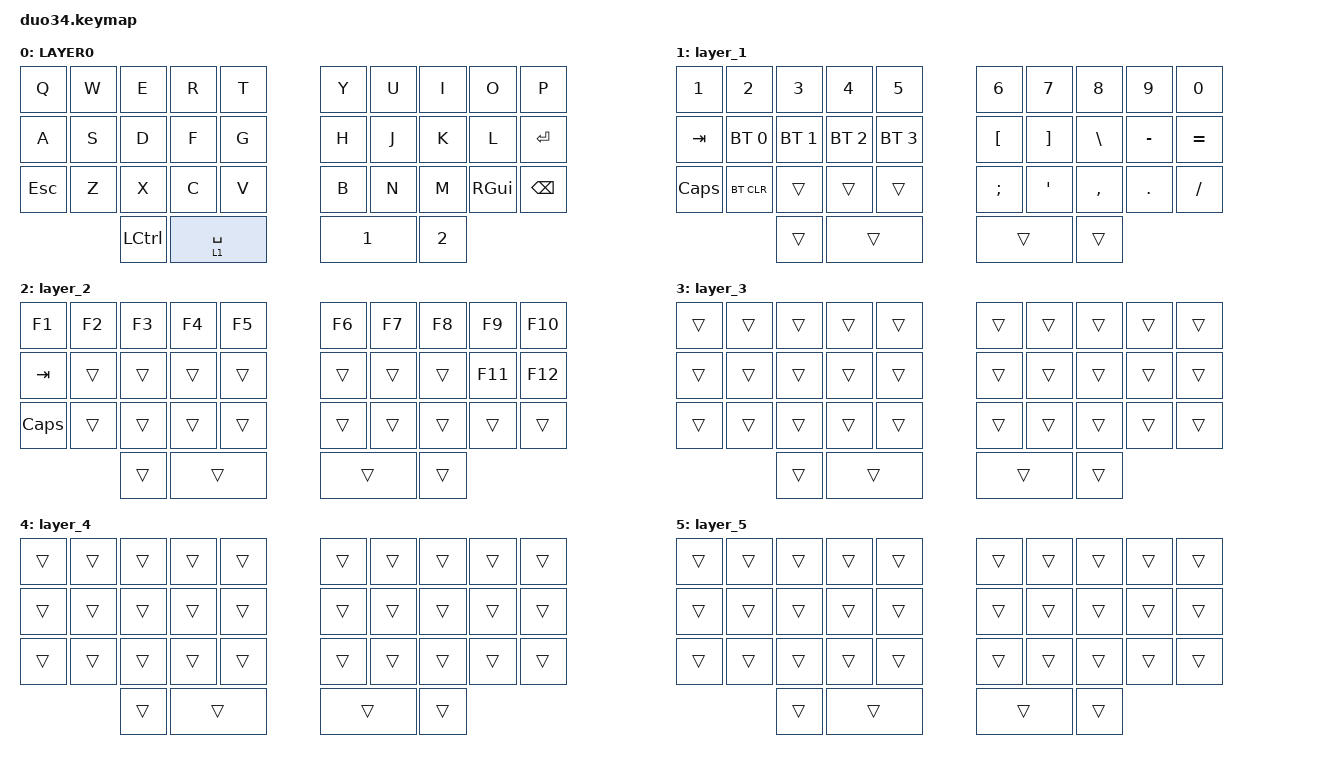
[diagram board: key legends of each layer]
#include <behaviors.dtsi>
#include <dt-bindings/zmk/bt.h>
#include <dt-bindings/zmk/keys.h>

&lt {
    flavor = "tap-preferred";
    quick-tap-ms = <180>;
};

&mt {
    quick-tap-ms = <180>;
    flavor = "tap-preferred";
};

/ {
    keymap {
        compatible = "zmk,keymap";

        LAYER0 {
            bindings = <
&kp Q    &kp W  &kp E  &kp R      &kp T  &kp Y        &kp U         &kp I  &kp O         &kp P
&kp A    &kp S  &kp D  &kp F      &kp G  &kp H        &kp J         &kp K  &kp L         &kp ENTER
&kp ESC  &kp Z  &kp X  &kp C      &kp V  &kp B        &kp N         &kp M  &kp RGUI      &kp BSPC
                       &kp LCTRL         &lt 1 SPACE  &kp NUMBER_1         &kp NUMBER_2
            >;
        };

        layer_1 {
            bindings = <
&kp N1    &kp N2        &kp N3        &kp N4        &kp N5        &kp N6    &kp N7    &kp N8     &kp N9     &kp N0
&kp TAB   &bt BT_SEL 0  &bt BT_SEL 1  &bt BT_SEL 2  &bt BT_SEL 3  &kp LBKT  &kp RBKT  &kp BSLH   &kp MINUS  &kp EQUAL
&kp CAPS  &bt BT_CLR    &trans        &trans        &trans        &kp SEMI  &kp APOS  &kp COMMA  &kp DOT    &kp FSLH
                                      &trans                      &trans    &trans               &trans
            >;
        };

        layer_2 {
            bindings = <
&kp F1    &kp F2  &kp F3  &kp F4  &kp F5  &kp F6  &kp F7  &kp F8  &kp F9   &kp F10
&kp TAB   &trans  &trans  &trans  &trans  &trans  &trans  &trans  &kp F11  &kp F12
&kp CAPS  &trans  &trans  &trans  &trans  &trans  &trans  &trans  &trans   &trans
                          &trans          &trans  &trans          &trans
            >;
        };

        layer_3 {
            bindings = <
&trans  &trans  &trans  &trans  &trans  &trans  &trans  &trans  &trans  &trans
&trans  &trans  &trans  &trans  &trans  &trans  &trans  &trans  &trans  &trans
&trans  &trans  &trans  &trans  &trans  &trans  &trans  &trans  &trans  &trans
                        &trans          &trans  &trans          &trans
            >;
        };

        layer_4 {
            bindings = <
&trans  &trans  &trans  &trans  &trans  &trans  &trans  &trans  &trans  &trans
&trans  &trans  &trans  &trans  &trans  &trans  &trans  &trans  &trans  &trans
&trans  &trans  &trans  &trans  &trans  &trans  &trans  &trans  &trans  &trans
                        &trans          &trans  &trans          &trans
            >;
        };

        layer_5 {
            bindings = <
&trans  &trans  &trans  &trans  &trans  &trans  &trans  &trans  &trans  &trans
&trans  &trans  &trans  &trans  &trans  &trans  &trans  &trans  &trans  &trans
&trans  &trans  &trans  &trans  &trans  &trans  &trans  &trans  &trans  &trans
                        &trans          &trans  &trans          &trans
            >;
        };
    };
};
